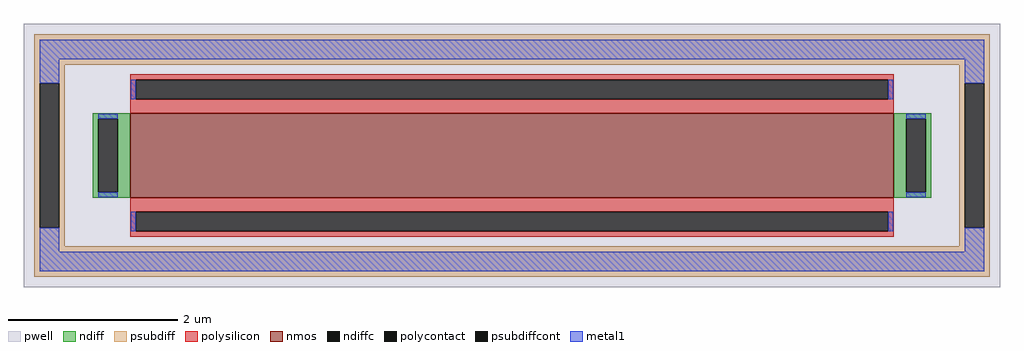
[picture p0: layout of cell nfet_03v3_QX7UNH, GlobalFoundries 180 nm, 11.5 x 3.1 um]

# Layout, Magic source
magic
tech gf180mcuD
magscale 1 10
<< pwell >>
rect -1150 -310 1150 310
<< nmos >>
rect -900 -100 900 100
<< ndiff >>
rect -988 87 -900 100
rect -988 -87 -975 87
rect -929 -87 -900 87
rect -988 -100 -900 -87
rect 900 87 988 100
rect 900 -87 929 87
rect 975 -87 988 87
rect 900 -100 988 -87
<< ndiffc >>
rect -975 -87 -929 87
rect 929 -87 975 87
<< psubdiff >>
rect -1126 214 1126 286
rect -1126 170 -1054 214
rect -1126 -170 -1113 170
rect -1067 -170 -1054 170
rect 1054 170 1126 214
rect -1126 -214 -1054 -170
rect 1054 -170 1067 170
rect 1113 -170 1126 170
rect 1054 -214 1126 -170
rect -1126 -286 1126 -214
<< psubdiffcont >>
rect -1113 -170 -1067 170
rect 1067 -170 1113 170
<< polysilicon >>
rect -900 179 900 192
rect -900 133 -887 179
rect 887 133 900 179
rect -900 100 900 133
rect -900 -133 900 -100
rect -900 -179 -887 -133
rect 887 -179 900 -133
rect -900 -192 900 -179
<< polycontact >>
rect -887 133 887 179
rect -887 -179 887 -133
<< metal1 >>
rect -1113 227 1113 273
rect -1113 170 -1067 227
rect -898 133 -887 179
rect 887 133 898 179
rect 1067 170 1113 227
rect -975 87 -929 98
rect -975 -98 -929 -87
rect 929 87 975 98
rect 929 -98 975 -87
rect -1113 -227 -1067 -170
rect -898 -179 -887 -133
rect 887 -179 898 -133
rect 1067 -227 1113 -170
rect -1113 -273 1113 -227
<< properties >>
string FIXED_BBOX -1090 -250 1090 250
string gencell nfet_03v3
string library gf180mcu
string parameters w 1.0 l 9.0 m 1 nf 1 diffcov 100 polycov 100 guard 1 glc 1 grc 1 gtc 0 gbc 0 tbcov 100 rlcov 100 topc 1 botc 1 poverlap 0 doverlap 1 lmin 0.28 wmin 0.22 class mosfet full_metal 1 compatible {nfet_03v3 nfet_05v0 nfet_06v0 nfet_06v0_nvt}
<< end >>
